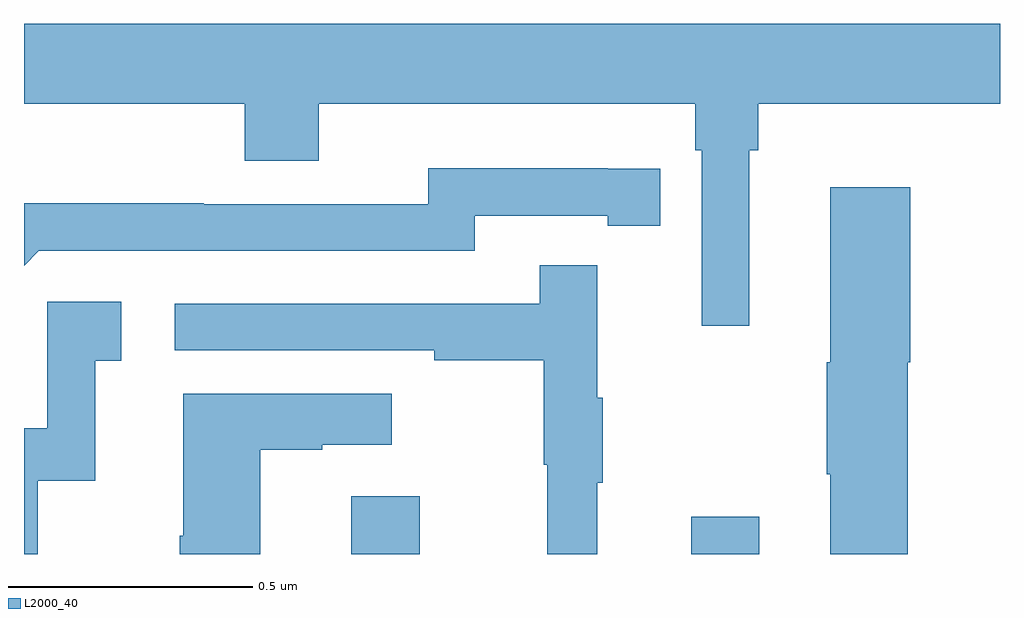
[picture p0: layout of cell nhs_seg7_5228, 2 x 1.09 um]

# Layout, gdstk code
import gdstk
lib = gdstk.Library(unit=1e-6, precision=1e-09)
def R(c, l, rs):  # rectangles x0, y0, x1, y1
    for r in rs: c.add(gdstk.rectangle(r[:2], r[2:], *l))
def P(c, l, *ps):  # polygons
    for p in ps: c.add(gdstk.Polygon(p, *l))
L2000_40 = (2000, 40)

nhs_seg7_5228 = lib.new_cell('nhs_seg7_5228')
R(nhs_seg7_5228, L2000_40, [(183.671,1025,183.811,1025.119), (184.367,1025,184.507,1025.077)])
P(nhs_seg7_5228, L2000_40, [(184.486,1025.828),(184.505,1025.828),(184.505,1025.924),(185,1025.924),(185,1026.088),(183,1026.088),(183,1025.924),(183.452,1025.924),(183.452,1025.807),(183.604,1025.807),(183.604,1025.924),(184.376,1025.924),(184.376,1025.828),(184.389,1025.828),(184.389,1025.469),(184.486,1025.469)],
  [(183.03,1025.622),(183.924,1025.622),(183.924,1025.694),(184.196,1025.694),(184.196,1025.674),(184.304,1025.674),(184.304,1025.79),(184.196,1025.79),(184.196,1025.791),(183.828,1025.791),(183.828,1025.718),(183.368,1025.718),(183.368,1025.72),(183,1025.72),(183,1025.592)],
  [(184.811,1025.394),(184.816,1025.394),(184.816,1025.752),(184.652,1025.752),(184.652,1025.394),(184.645,1025.394),(184.645,1025.164),(184.652,1025.164),(184.652,1025),(184.811,1025)],
  [(184.175,1025.147),(184.186,1025.147),(184.186,1025.321),(184.175,1025.321),(184.175,1025.593),(184.057,1025.593),(184.057,1025.514),(183.309,1025.514),(183.309,1025.418),(183.841,1025.418),(183.841,1025.398),(184.065,1025.398),(184.065,1025.184),(184.072,1025.184),(184.072,1025),(184.175,1025)],
  [(183.028,1025.151),(183.146,1025.151),(183.146,1025.397),(183.199,1025.397),(183.199,1025.518),(183.048,1025.518),(183.048,1025.259),(183,1025.259),(183,1025),(183.028,1025)],
  [(183.484,1025.215),(183.611,1025.215),(183.611,1025.225),(183.754,1025.225),(183.754,1025.329),(183.326,1025.329),(183.326,1025.038),(183.319,1025.038),(183.319,1025),(183.484,1025)])

lib.write_gds('nhs_seg7_5228.gds')
